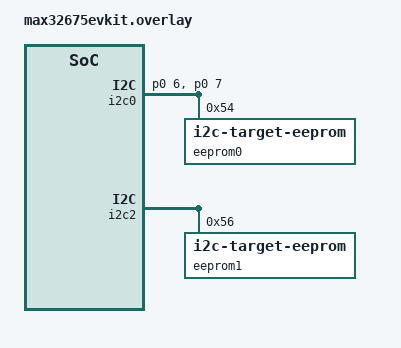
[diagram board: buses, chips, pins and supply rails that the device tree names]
/*
 * Copyright (c) 2024 Analog Devices, Inc.
 *
 * SPDX-License-Identifier: Apache-2.0
 */

&i2c0 {
	status = "okay";
	pinctrl-0 = <&i2c0a_scl_p0_6 &i2c0a_sda_p0_7>;
	pinctrl-names = "default";

	eeprom0: eeprom@54 {
		compatible = "zephyr,i2c-target-eeprom";
		reg = <0x54>;
		address-width = <16>;
		size = <1024>;
	};
};

&i2c2 {
	dmas = <&dma0 1 MAX32_DMA_SLOT_I2C2_TX>, <&dma0 2 MAX32_DMA_SLOT_I2C2_RX>;
	dma-names = "tx", "rx";

	eeprom1: eeprom@56 {
		compatible = "zephyr,i2c-target-eeprom";
		reg = <0x56>;
		address-width = <16>;
		size = <1024>;
	};
};
